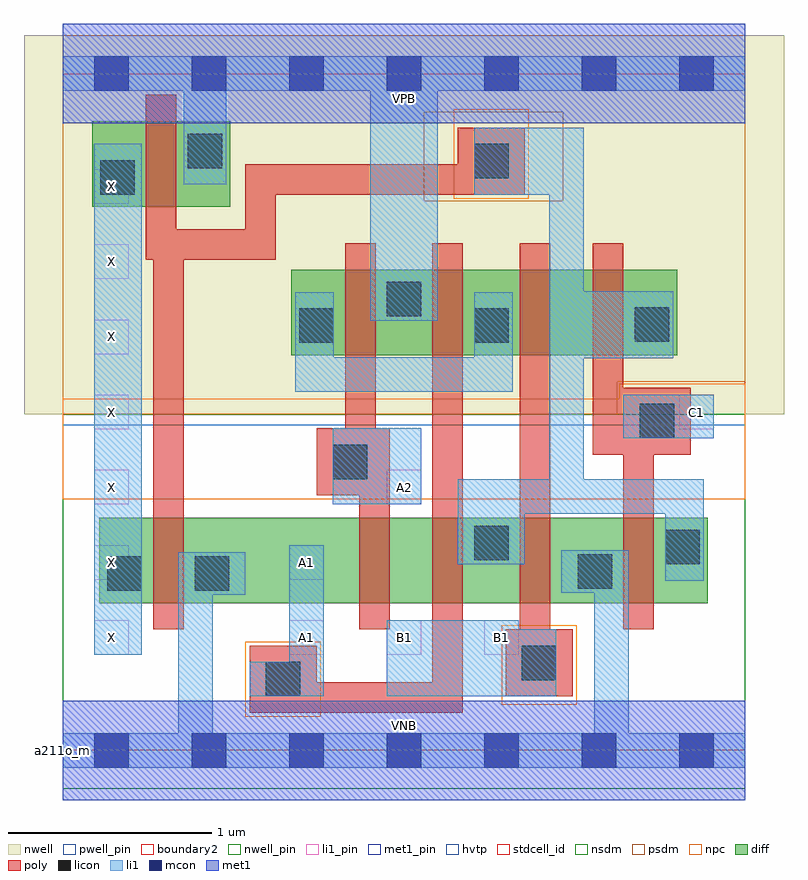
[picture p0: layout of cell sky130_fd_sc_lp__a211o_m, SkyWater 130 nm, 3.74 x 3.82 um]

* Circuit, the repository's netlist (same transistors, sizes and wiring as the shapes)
* Copyright 2020 The SkyWater PDK Authors
*
* Licensed under the Apache License, Version 2.0 (the "License");
* you may not use this file except in compliance with the License.
* You may obtain a copy of the License at
*
*     https://www.apache.org/licenses/LICENSE-2.0
*
* Unless required by applicable law or agreed to in writing, software
* distributed under the License is distributed on an "AS IS" BASIS,
* WITHOUT WARRANTIES OR CONDITIONS OF ANY KIND, either express or implied.
* See the License for the specific language governing permissions and
* limitations under the License.
*
* SPDX-License-Identifier: Apache-2.0

.SUBCKT sky130_fd_sc_lp__a211o_m A1 A2 B1 C1 VGND VNB VPB VPWR X
*.PININFO A1:I A2:I B1:I C1:I VGND:I VNB:I VPB:I VPWR:I X:O
MMPA0 pndA A1 VPWR VPB sky130_fd_pr__pfet_01v8_hvt m=1 w=0.42U l=0.15U mult=1 sa=0.265
+ sb=0.265 sd=0.28 area=0.063 perim=1.14
MMPA1 pndA A2 VPWR VPB sky130_fd_pr__pfet_01v8_hvt m=1 w=0.42U l=0.15U mult=1 sa=0.265
+ sb=0.265 sd=0.28 area=0.063 perim=1.14
MMPB0 pndB B1 pndA VPB sky130_fd_pr__pfet_01v8_hvt m=1 w=0.42U l=0.15U mult=1 sa=0.265
+ sb=0.265 sd=0.28 area=0.063 perim=1.14
MMPC0 y C1 pndB VPB sky130_fd_pr__pfet_01v8_hvt m=1 w=0.42U l=0.15U mult=1 sa=0.265
+ sb=0.265 sd=0.28 area=0.063 perim=1.14
MMIPX X y VPWR VPB sky130_fd_pr__pfet_01v8_hvt m=1 w=0.42U l=0.15U mult=1 sa=0.265
+ sb=0.265 sd=0.28 area=0.063 perim=1.14
MMNA0 y A1 sndA1 VNB sky130_fd_pr__nfet_01v8 m=1 w=0.42U l=0.15U mult=1 sa=0.265
+ sb=0.265 sd=0.28 area=0.063 perim=1.14
MMNA1 sndA1 A2 VGND VNB sky130_fd_pr__nfet_01v8 m=1 w=0.42U l=0.15U mult=1 sa=0.265
+ sb=0.265 sd=0.28 area=0.063 perim=1.14
MMNB0 y B1 VGND VNB sky130_fd_pr__nfet_01v8 m=1 w=0.42U l=0.15U mult=1 sa=0.265
+ sb=0.265 sd=0.28 area=0.063 perim=1.14
MMNC0 y C1 VGND VNB sky130_fd_pr__nfet_01v8 m=1 w=0.42U l=0.15U mult=1 sa=0.265
+ sb=0.265 sd=0.28 area=0.063 perim=1.14
MMINX X y VGND VNB sky130_fd_pr__nfet_01v8 m=1 w=0.42U l=0.15U mult=1 sa=0.265
+ sb=0.265 sd=0.28 area=0.063 perim=1.14
.ENDS sky130_fd_sc_lp__a211o_m

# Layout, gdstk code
import gdstk
lib = gdstk.Library(unit=1e-6, precision=1e-09)
def R(c, l, rs):  # rectangles x0, y0, x1, y1
    for r in rs: c.add(gdstk.rectangle(r[:2], r[2:], *l))
def A(c, l, x, y, w, h, nx, ny, dx, dy):  # array of equal rectangles
    R(c, l, [(x+i*dx, y+j*dy, x+i*dx+w, y+j*dy+h) for i in range(nx) for j in range(ny)])
def P(c, l, *ps):  # polygons
    for p in ps: c.add(gdstk.Polygon(p, *l))
nwell_pin = (64, 16)
nwell = (64, 20)
diff = (65, 20)
poly = (66, 20)
licon = (66, 44)
li1_pin = (67, 16)
li1 = (67, 20)
mcon = (67, 44)
met1_pin = (68, 16)
met1 = (68, 20)
hvtp = (78, 44)
stdcell_id = (81, 4)
nsdm = (93, 44)
psdm = (94, 20)
npc = (95, 20)
pwell_pin = (122, 16)
boundary2 = (236, 0)

sky130_fd_sc_lp__a211o_m = lib.new_cell('sky130_fd_sc_lp__a211o_m')
R(sky130_fd_sc_lp__a211o_m, nwell_pin, [(0,3.085,3.36,3.33)])
R(sky130_fd_sc_lp__a211o_m, nwell, [(-0.19,1.655,3.55,3.52)])
R(sky130_fd_sc_lp__a211o_m, diff, [(0.18,0.725,3.175,1.145), (1.125,1.945,3.025,2.365), (0.145,2.675,0.825,3.095)])
P(sky130_fd_sc_lp__a211o_m, poly, [(1.61,1.585),(1.54,1.585),(1.54,2.495),(1.39,2.495),(1.39,1.585),(1.25,1.585),(1.25,1.255),(1.46,1.255),(1.46,0.595),(1.61,0.595)],
  [(1.97,2.495),(1.82,2.495),(1.82,0.335),(1.25,0.335),(1.25,0.515),(0.92,0.515),(0.92,0.185),(1.97,0.185)],
  [(2.275,3.065),(1.945,3.065),(1.945,2.885),(0.9,2.885),(0.9,2.565),(0.56,2.565),(0.56,3.225),(0.41,3.225),(0.41,2.415),(0.445,2.415),(0.445,0.595),(0.595,0.595),(0.595,2.415),(1.05,2.415),(1.05,2.735),(2.275,2.735)],
  [(2.51,0.595),(2.4,0.595),(2.4,2.495),(2.25,2.495),(2.25,0.595),(2.18,0.595),(2.18,0.265),(2.51,0.265)],
  [(3.09,1.785),(2.76,1.785),(2.76,2.495),(2.61,2.495),(2.61,1.455),(2.76,1.455),(2.76,0.595),(2.91,0.595),(2.91,1.455),(3.09,1.455)])
R(sky130_fd_sc_lp__a211o_m, licon, [(1,0.265,1.17,0.435), (2.26,0.345,2.43,0.515), (0.22,0.785,0.39,0.955), (0.65,0.785,0.82,0.955), (2.535,0.795,2.705,0.965), (2.965,0.915,3.135,1.085), (2.025,0.935,2.195,1.105), (1.33,1.335,1.5,1.505), (2.84,1.535,3.01,1.705), (1.165,2.005,1.335,2.175), (2.025,2.005,2.195,2.175), (2.815,2.01,2.985,2.18), (1.595,2.135,1.765,2.305), (0.185,2.735,0.355,2.905), (2.025,2.815,2.195,2.985), (0.615,2.865,0.785,3.035)])
A(sky130_fd_sc_lp__a211o_m, li1_pin, 0.155, 0.47, 0.17, 0.17, 1, 7, 0, 0.37)
A(sky130_fd_sc_lp__a211o_m, li1_pin, 1.115, 0.47, 0.17, 0.17, 3, 1, 0.48, 0)
R(sky130_fd_sc_lp__a211o_m, li1_pin, [(1.115,0.84,1.285,1.01), (1.595,1.21,1.765,1.38), (3.035,1.58,3.205,1.75)])
R(sky130_fd_sc_lp__a211o_m, li1, [(0.155,0.47,0.39,2.985), (1.33,1.21,1.765,1.585), (2.76,1.535,3.205,1.75)])
P(sky130_fd_sc_lp__a211o_m, li1, [(1.515,2.115),(1.515,3.245),(0.805,3.245),(0.805,2.785),(0.595,2.785),(0.595,3.245),(0,3.245),(0,3.415),(3.36,3.415),(3.36,3.245),(1.845,3.245),(1.845,2.115)],
  [(2.615,0.085),(2.615,0.775),(2.455,0.775),(2.455,0.985),(2.785,0.985),(2.785,0.085),(3.36,0.085),(3.36,-0.085),(0,-0.085),(0,0.085),(0.57,0.085),(0.57,0.975),(0.9,0.975),(0.9,0.765),(0.74,0.765),(0.74,0.085)],
  [(2.565,2.26),(3.005,2.26),(3.005,1.93),(2.565,1.93),(2.565,1.335),(3.155,1.335),(3.155,0.835),(2.965,0.835),(2.965,1.165),(2.275,1.165),(2.275,0.915),(1.945,0.915),(1.945,1.335),(2.395,1.335),(2.395,2.735),(2.025,2.735),(2.025,3.065),(2.565,3.065)],
  [(0.92,0.265),(0.92,0.435),(1.115,0.435),(1.115,1.01),(1.285,1.01),(1.285,0.265)],
  [(2.025,1.935),(2.025,2.255),(2.215,2.255),(2.215,1.765),(1.145,1.765),(1.145,2.255),(1.335,2.255),(1.335,1.935)],
  [(1.595,0.64),(2.245,0.64),(2.245,0.595),(2.43,0.595),(2.43,0.265),(1.595,0.265)])
A(sky130_fd_sc_lp__a211o_m, mcon, 0.155, -0.085, 0.17, 0.17, 7, 2, 0.48, 3.33)
R(sky130_fd_sc_lp__a211o_m, met1_pin, [(0,0,3.36,0.245), (0,3.085,3.36,3.33)])
R(sky130_fd_sc_lp__a211o_m, met1, [(0,-0.245,3.36,0.245), (0,3.085,3.36,3.575)])
R(sky130_fd_sc_lp__a211o_m, hvtp, [(0,1.6,3.36,3.33)])
R(sky130_fd_sc_lp__a211o_m, stdcell_id, [(0,0,3.36,3.33)])
R(sky130_fd_sc_lp__a211o_m, nsdm, [(0,-0.19,3.36,1.655)])
P(sky130_fd_sc_lp__a211o_m, psdm, [(3.36,3.52),(2.46,3.52),(2.46,2.705),(1.78,2.705),(1.78,3.14),(2.46,3.14),(2.46,3.52),(0,3.52),(0,1.655),(2.73,1.655),(2.73,1.815),(3.36,1.815)])
R(sky130_fd_sc_lp__a211o_m, npc, [(0.9,0.165,1.27,0.535), (2.16,0.225,2.53,0.615), (1.925,2.715,2.295,3.155)])
P(sky130_fd_sc_lp__a211o_m, npc, [(3.36,1.805),(2.74,1.805),(2.74,1.73),(0,1.73),(0,1.235),(3.36,1.235)])
R(sky130_fd_sc_lp__a211o_m, pwell_pin, [(0,0,3.36,0.245)])
R(sky130_fd_sc_lp__a211o_m, boundary2, [(0,0,3.36,3.33)])
sky130_fd_sc_lp__a211o_m.add(gdstk.Label('VNB', (1.68,0.123), layer=64, texttype=59))
sky130_fd_sc_lp__a211o_m.add(gdstk.Label('VPB', (1.68,3.208), layer=64, texttype=5))
sky130_fd_sc_lp__a211o_m.add(gdstk.Label('a211o_m', (0,0), layer=83, texttype=44))
sky130_fd_sc_lp__a211o_m.add(gdstk.Label('VPWR', (1.68,3.208), layer=68, texttype=5))
sky130_fd_sc_lp__a211o_m.add(gdstk.Label('VGND', (1.68,0.123), layer=68, texttype=5))
sky130_fd_sc_lp__a211o_m.add(gdstk.Label('A2', (1.68,1.295), layer=67, texttype=5))
sky130_fd_sc_lp__a211o_m.add(gdstk.Label('C1', (3.12,1.665), layer=67, texttype=5))
sky130_fd_sc_lp__a211o_m.add(gdstk.Label('A1', (1.2,0.555), layer=67, texttype=5))
sky130_fd_sc_lp__a211o_m.add(gdstk.Label('A1', (1.2,0.925), layer=67, texttype=5))
sky130_fd_sc_lp__a211o_m.add(gdstk.Label('B1', (1.68,0.555), layer=67, texttype=5))
sky130_fd_sc_lp__a211o_m.add(gdstk.Label('B1', (2.16,0.555), layer=67, texttype=5))
sky130_fd_sc_lp__a211o_m.add(gdstk.Label('X', (0.24,0.555), layer=67, texttype=5))
sky130_fd_sc_lp__a211o_m.add(gdstk.Label('X', (0.24,0.925), layer=67, texttype=5))
sky130_fd_sc_lp__a211o_m.add(gdstk.Label('X', (0.24,1.295), layer=67, texttype=5))
sky130_fd_sc_lp__a211o_m.add(gdstk.Label('X', (0.24,1.665), layer=67, texttype=5))
sky130_fd_sc_lp__a211o_m.add(gdstk.Label('X', (0.24,2.035), layer=67, texttype=5))
sky130_fd_sc_lp__a211o_m.add(gdstk.Label('X', (0.24,2.405), layer=67, texttype=5))
sky130_fd_sc_lp__a211o_m.add(gdstk.Label('X', (0.24,2.775), layer=67, texttype=5))

lib.write_gds('sky130_fd_sc_lp__a211o_m.gds')
